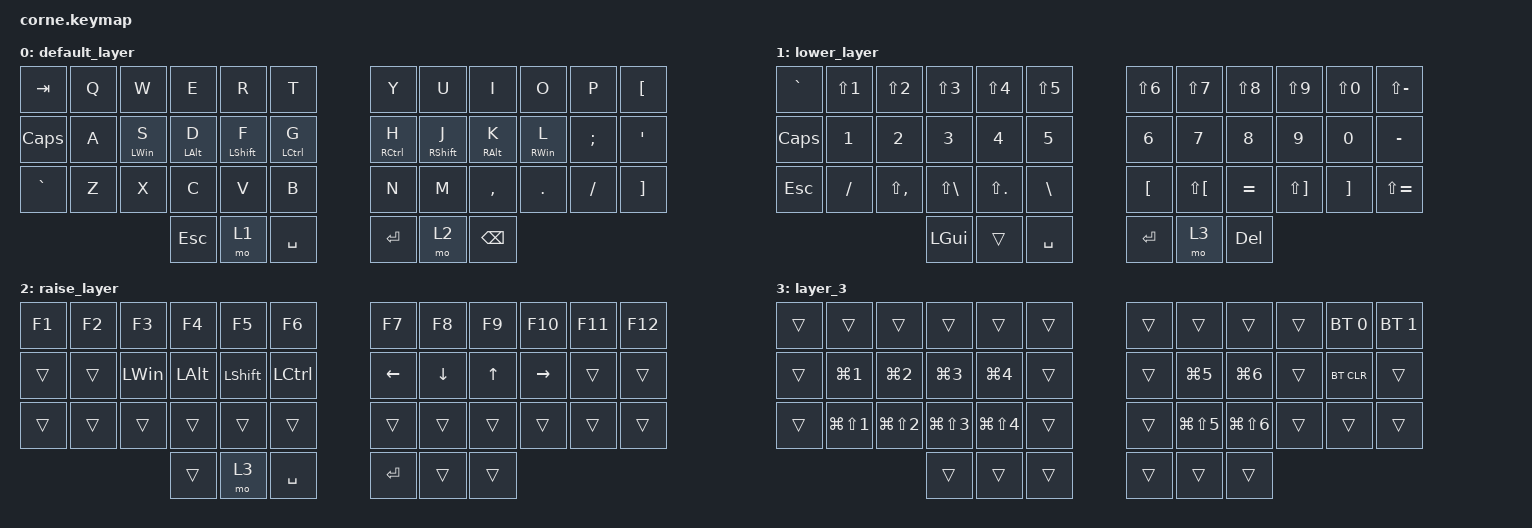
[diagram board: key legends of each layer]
/*
 * Copyright (c) 2020 The ZMK Contributors
 *
 * SPDX-License-Identifier: MIT
 */

#include <behaviors.dtsi>
#include <dt-bindings/zmk/bt.h>
#include <dt-bindings/zmk/keys.h>

/ {
    combos {
        compatible = "zmk,combos";

        combo_esc {
            timeout-ms = <50>;
            key-positions = <0 1>;
            bindings = <&kp ESC>;
        };
    };

    behaviors {
        ss_hs_modmorph: ss_hs_modmorph {
            compatible = "zmk,behavior-mod-morph";
            label = "SS_HS_MODMORPH";
            bindings = <&kp M>, <&kp RIGHT_BRACKET>;

            #binding-cells = <0>;
            mods = <(MOD_LSFT|MOD_RSFT)>;
        };

        kh_hs_tapdance: kh_hs_tapdance {
            compatible = "zmk,behavior-tap-dance";
            label = "KH_HS_TAPDANCE";
            #binding-cells = <0>;
            tapping-term-ms = <200>;
            bindings = <&kp LEFT_BRACKET>, <&kp RIGHT_BRACKET>;
        };

        hrm: hrm {
            compatible = "zmk,behavior-hold-tap";
            #binding-cells = <2>;
            flavor = "tap-preferred";
            tapping-term-ms = <200>;
            quick-tap-ms = <200>;
            require-prior-idle-ms = <125>;
            bindings = <&kp>, <&kp>;
        };
    };

    keymap {
        compatible = "zmk,keymap";

        default_layer {
            // -----------------------------------------------------------------------------------------
            // |  TAB |  Q  |  W  |  E  |  R  |  T  |   |  Y  |  U   |  I  |  O  |  P  | BKSP |
            // | CTRL |  A  |  S  |  D  |  F  |  G  |   |  H  |  J   |  K  |  L  |  ;  |  '   |
            // | SHFT |  Z  |  X  |  C  |  V  |  B  |   |  N  |  M   |  ,  |  .  |  /  | ESC  |
            //                    | GUI | LWR | SPC |   | ENT | RSE  | ALT |

            bindings = <
&kp TAB       &kp Q  &kp W            &kp E            &kp R              &kp T           &kp Y         &kp U          &kp I             &kp O             &kp P     &kp LEFT_BRACKET
&kp CAPSLOCK  &kp A  &hrm LEFT_WIN S  &hrm LEFT_ALT D  &hrm LEFT_SHIFT F  &hrm LCTRL G    &hrm RCTRL H  &hrm RSHIFT J  &hrm RIGHT_ALT K  &hrm RIGHT_WIN L  &kp SEMI  &kp SQT
&kp GRAVE     &kp Z  &kp X            &kp C            &kp V              &kp B           &kp N         &kp M          &kp COMMA         &kp DOT           &kp FSLH  &kp RIGHT_BRACKET
                                      &kp ESC          &mo 1              &kp SPACE       &kp RET       &mo 2          &kp BACKSPACE
            >;
        };

        lower_layer {
            // -----------------------------------------------------------------------------------------
            // |  TAB |  1  |  2  |  3  |  4  |  5  |   |  6  |  7  |  8  |  9  |  0  | BKSP |
            // | BTCLR| BT1 | BT2 | BT3 | BT4 | BT5 |   | LFT | DWN |  UP | RGT |     |      |
            // | SHFT |     |     |     |     |     |   |     |     |     |     |     |      |
            //                    | GUI |     | SPC |   | ENT |     | ALT |

            bindings = <
&kp GRAVE     &kp LS(N1)  &kp LS(N2)     &kp LS(N3)    &kp LS(N4)      &kp LS(N5)       &kp LS(N6)        &kp LS(N7)            &kp LS(N8)  &kp LS(N9)             &kp LS(N0)         &kp LS(MINUS)
&kp CAPSLOCK  &kp N1      &kp N2         &kp N3        &kp N4          &kp N5           &kp N6            &kp N7                &kp N8      &kp N9                 &kp N0             &kp MINUS
&kp ESCAPE    &kp SLASH   &kp LS(COMMA)  &kp LS(BSLH)  &kp LS(PERIOD)  &kp BACKSLASH    &kp LEFT_BRACKET  &kp LS(LEFT_BRACKET)  &kp EQUAL   &kp LS(RIGHT_BRACKET)  &kp RIGHT_BRACKET  &kp LS(EQUAL)
                                         &kp LGUI      &trans          &kp SPACE        &kp RET           &mo 3                 &kp DEL
            >;
        };

        raise_layer {
            // -----------------------------------------------------------------------------------------
            // |  TAB |  !  |  @  |  #  |  $  |  %  |   |  ^  |  &  |  *  |  (  |  )  | BKSP |
            // | CTRL |     |     |     |     |     |   |  -  |  =  |  [  |  ]  |  \  |  `   |
            // | SHFT |     |     |     |     |     |   |  _  |  +  |  {  |  }  | "|" |  ~   |
            //                    | GUI |     | SPC |   | ENT |     | ALT |

            bindings = <
&kp F1  &kp F2  &kp F3        &kp F4        &kp F5      &kp F6       &kp F7    &kp F8    &kp F9  &kp F10    &kp F11  &kp F12
&trans  &trans  &kp LEFT_WIN  &kp LEFT_ALT  &kp LSHIFT  &kp LCTRL    &kp LEFT  &kp DOWN  &kp UP  &kp RIGHT  &trans   &trans
&trans  &trans  &trans        &trans        &trans      &trans       &trans    &trans    &trans  &trans     &trans   &trans
                              &trans        &mo 3       &kp SPACE    &kp RET   &trans    &trans
            >;
        };

        layer_3 {
            bindings = <
&trans  &trans          &trans          &trans          &trans          &trans    &trans  &trans          &trans          &trans  &bt BT_SEL 0  &bt BT_SEL 1
&trans  &kp LG(N1)      &kp LG(N2)      &kp LG(N3)      &kp LG(N4)      &trans    &trans  &kp LG(N5)      &kp LG(N6)      &trans  &bt BT_CLR    &trans
&trans  &kp LG(LS(N1))  &kp LG(LS(N2))  &kp LG(LS(N3))  &kp LG(LS(N4))  &trans    &trans  &kp LG(LS(N5))  &kp LG(LS(N6))  &trans  &trans        &trans
                                        &trans          &trans          &trans    &trans  &trans          &trans
            >;
        };
    };
};
